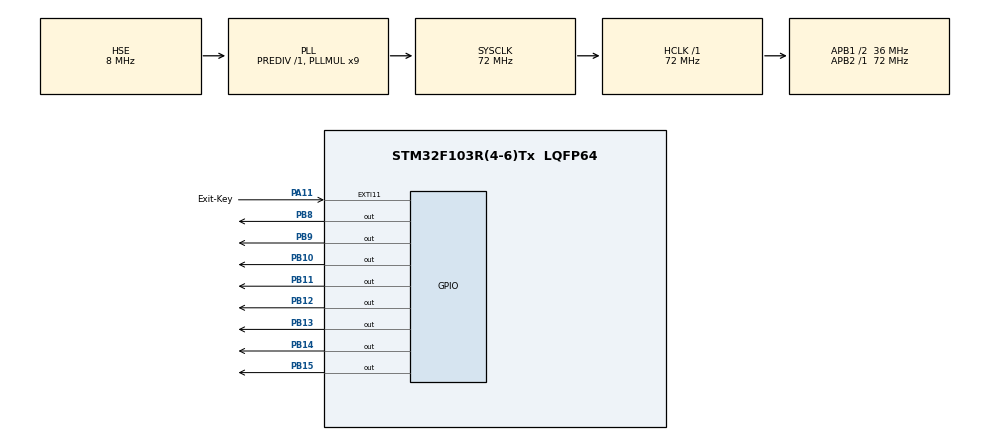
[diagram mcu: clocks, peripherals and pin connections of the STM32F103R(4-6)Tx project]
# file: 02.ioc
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Mcu.Family=STM32F1
Mcu.Name=STM32F103R(4-6)Tx
Mcu.Package=LQFP64
NVIC.EXTI15_10_IRQn=true\:2\:0\:true\:false\:true\:true\:true
NVIC.PriorityGroup=NVIC_PRIORITYGROUP_2
PA11.GPIO_Label=Exit-Key
PA11.GPIO_ModeDefaultEXTI=GPIO_MODE_IT_FALLING
PA11.GPIO_PuPd=GPIO_PULLUP
PA11.Signal=GPXTI11
PB10.Signal=GPIO_Output
PB11.Signal=GPIO_Output
PB12.Signal=GPIO_Output
PB13.Signal=GPIO_Output
PB14.Signal=GPIO_Output
PB15.Signal=GPIO_Output
PB8.Signal=GPIO_Output
PB9.Signal=GPIO_Output
PD0-OSC_IN.Mode=HSE-External-Oscillator
PD0-OSC_IN.Signal=RCC_OSC_IN
PD1-OSC_OUT.Mode=HSE-External-Oscillator
PD1-OSC_OUT.Signal=RCC_OSC_OUT
ProjectManager.HeapSize=0x200
ProjectManager.StackSize=0x400
ProjectManager.TargetToolchain=MDK-ARM V5
RCC.AHBFreq_Value=72000000
RCC.APB1CLKDivider=RCC_HCLK_DIV2
RCC.APB1Freq_Value=36000000
RCC.APB1TimFreq_Value=72000000
RCC.APB2Freq_Value=72000000
RCC.APB2TimFreq_Value=72000000
RCC.HCLKFreq_Value=72000000
RCC.PLLMUL=RCC_PLL_MUL9
RCC.PLLSourceVirtual=RCC_PLLSOURCE_HSE
RCC.SYSCLKFreq_VALUE=72000000
RCC.SYSCLKSource=RCC_SYSCLKSOURCE_PLLCLK
RCC.USBFreq_Value=72000000
VP_SYS_VS_ND.Mode=No_Debug
board=custom

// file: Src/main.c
/* USER CODE BEGIN Header */
/**
  ******************************************************************************
  * @file           : main.c
  * @brief          : Main program body
  ******************************************************************************
  * @attention
  *
  * <h2><center>&copy; Copyright (c) 2021 STMicroelectronics.
  * All rights reserved.</center></h2>
  *
  * This software component is licensed by ST under BSD 3-Clause license,
  * the "License"; You may not use this file except in compliance with the
  * License. You may obtain a copy of the License at:
  *                        opensource.org/licenses/BSD-3-Clause
  *
  ******************************************************************************
  */
/* USER CODE END Header */

#include "main.h"

void SystemClock_Config(void);
static void MX_GPIO_Init(void);

int main(void)
{

  /* MCU Configuration--------------------------------------------------------*/

  /* Reset of all peripherals, Initializes the Flash interface and the Systick. */
  HAL_Init();

  /* Configure the system clock */
  SystemClock_Config();

  /* Initialize all configured peripherals */
  MX_GPIO_Init();

  /* Infinite loop */
  /* USER CODE BEGIN WHILE */
	int i=7,j;
  while (1)
  {	GPIOB->ODR = ~(1 << (8 + i));
		for(j=0x3ffff;j>0;j--);
 		if(++i==8)	i=0;
    /* USER CODE END WHILE */

  }
}

void SystemClock_Config(void)
{
  RCC_OscInitTypeDef RCC_OscInitStruct = {0};
  RCC_ClkInitTypeDef RCC_ClkInitStruct = {0};

  /** Initializes the CPU, AHB and APB busses clocks
  */
  RCC_OscInitStruct.OscillatorType = RCC_OSCILLATORTYPE_HSE;
  RCC_OscInitStruct.HSEState = RCC_HSE_ON;
  RCC_OscInitStruct.HSEPredivValue = RCC_HSE_PREDIV_DIV1;
  RCC_OscInitStruct.HSIState = RCC_HSI_ON;
  RCC_OscInitStruct.PLL.PLLState = RCC_PLL_ON;
  RCC_OscInitStruct.PLL.PLLSource = RCC_PLLSOURCE_HSE;
  RCC_OscInitStruct.PLL.PLLMUL = RCC_PLL_MUL9;
  if (HAL_RCC_OscConfig(&RCC_OscInitStruct) != HAL_OK)
  {
    Error_Handler();
  }
  /** Initializes the CPU, AHB and APB busses clocks
  */
  RCC_ClkInitStruct.ClockType = RCC_CLOCKTYPE_HCLK|RCC_CLOCKTYPE_SYSCLK
                              |RCC_CLOCKTYPE_PCLK1|RCC_CLOCKTYPE_PCLK2;
  RCC_ClkInitStruct.SYSCLKSource = RCC_SYSCLKSOURCE_PLLCLK;
  RCC_ClkInitStruct.AHBCLKDivider = RCC_SYSCLK_DIV1;
  RCC_ClkInitStruct.APB1CLKDivider = RCC_HCLK_DIV2;
  RCC_ClkInitStruct.APB2CLKDivider = RCC_HCLK_DIV1;

  if (HAL_RCC_ClockConfig(&RCC_ClkInitStruct, FLASH_LATENCY_2) != HAL_OK)
  {
    Error_Handler();
  }
}

static void MX_GPIO_Init(void)
{
  GPIO_InitTypeDef GPIO_InitStruct = {0};

  /* GPIO Ports Clock Enable */
  __HAL_RCC_GPIOD_CLK_ENABLE();
  __HAL_RCC_GPIOB_CLK_ENABLE();
  __HAL_RCC_GPIOA_CLK_ENABLE();

  /*Configure GPIO pin Output Level */
  HAL_GPIO_WritePin(GPIOB, GPIO_PIN_10|GPIO_PIN_11|GPIO_PIN_12|GPIO_PIN_13
                          |GPIO_PIN_14|GPIO_PIN_15|GPIO_PIN_8|GPIO_PIN_9, GPIO_PIN_RESET);

  /*Configure GPIO pins : PB10 PB11 PB12 PB13
                           PB14 PB15 PB8 PB9 */
  GPIO_InitStruct.Pin = GPIO_PIN_10|GPIO_PIN_11|GPIO_PIN_12|GPIO_PIN_13
                          |GPIO_PIN_14|GPIO_PIN_15|GPIO_PIN_8|GPIO_PIN_9;
  GPIO_InitStruct.Mode = GPIO_MODE_OUTPUT_PP;
  GPIO_InitStruct.Pull = GPIO_NOPULL;
  GPIO_InitStruct.Speed = GPIO_SPEED_FREQ_LOW;
  HAL_GPIO_Init(GPIOB, &GPIO_InitStruct);

  /*Configure GPIO pin : Exit_Key_Pin */
  GPIO_InitStruct.Pin = Exit_Key_Pin;
  GPIO_InitStruct.Mode = GPIO_MODE_IT_FALLING;
  GPIO_InitStruct.Pull = GPIO_PULLUP;
  HAL_GPIO_Init(Exit_Key_GPIO_Port, &GPIO_InitStruct);

  /* EXTI interrupt init*/
  HAL_NVIC_SetPriority(EXTI15_10_IRQn, 1, 0);
  HAL_NVIC_EnableIRQ(EXTI15_10_IRQn);

}

/* USER CODE BEGIN 4 */
void HAL_GPIO_EXTI_Callback(uint16_t GPIO_Pin)
{
//extern 	static int flagint;
	int i;
		if(GPIO_Pin==Exit_Key_Pin)
	{  HAL_Delay(20);//ȥ������ʱ
		 if(HAL_GPIO_ReadPin(Exit_Key_GPIO_Port,Exit_Key_Pin)==0)
    { for(i=1;i<4;i++)
 			 { GPIOB->ODR =0xff00;
				 HAL_Delay(40);
				 GPIOB->ODR =0;
				 HAL_Delay(40);
			 }
			GPIOB->ODR =0xff00;
			HAL_Delay(40);
		}
	}

}

/* USER CODE END 4 */

void Error_Handler(void)
{
}

/************************ (C) COPYRIGHT STMicroelectronics *****END OF FILE****/
